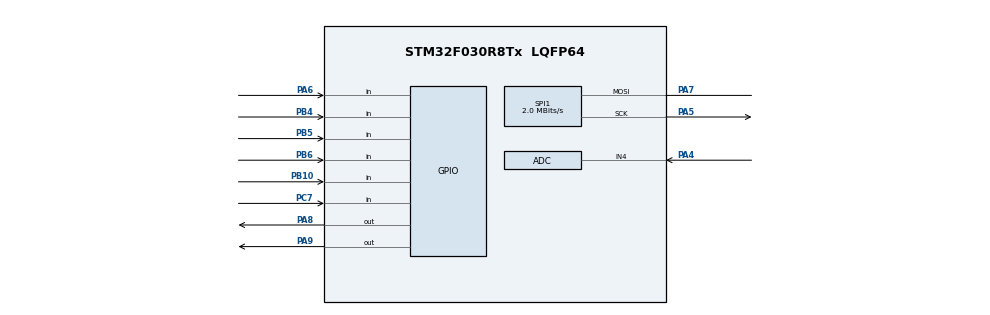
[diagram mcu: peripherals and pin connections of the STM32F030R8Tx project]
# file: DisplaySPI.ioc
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Mcu.Family=STM32F0
Mcu.Name=STM32F030R8Tx
Mcu.Package=LQFP64
PA4.Signal=SharedAnalog_PA4
PA5.Mode=Simplex_Bidirectional_Master
PA5.Signal=SPI1_SCK
PA6.GPIO_PuPd=GPIO_PULLUP
PA6.Signal=GPIO_Input
PA7.Mode=Simplex_Bidirectional_Master
PA7.Signal=SPI1_MOSI
PA8.Signal=GPIO_Output
PA9.PinState=GPIO_PIN_SET
PA9.Signal=GPIO_Output
PB10.GPIO_PuPd=GPIO_PULLUP
PB10.Signal=GPIO_Input
PB4.GPIO_PuPd=GPIO_PULLUP
PB4.Signal=GPIO_Input
PB5.GPIO_PuPd=GPIO_PULLUP
PB5.Signal=GPIO_Input
PB6.GPIO_PuPd=GPIO_PULLUP
PB6.Signal=GPIO_Input
PC7.GPIO_PuPd=GPIO_PULLUP
PC7.Signal=GPIO_Input
PF0-OSC_IN.Mode=HSE-External-Oscillator
PF0-OSC_IN.Signal=RCC_OSC_IN
PF1-OSC_OUT.Mode=HSE-External-Oscillator
PF1-OSC_OUT.Signal=RCC_OSC_OUT
ProjectManager.HeapSize=0x200
ProjectManager.StackSize=0x400
ProjectManager.TargetToolchain=STM32CubeIDE
SH.SharedAnalog_PA4.0=GPIO_Analog
SH.SharedAnalog_PA4.1=ADC_IN4,IN4
SPI1.BaudRatePrescaler=SPI_BAUDRATEPRESCALER_4
SPI1.CalculateBaudRate=2.0 MBits/s
SPI1.DataSize=SPI_DATASIZE_8BIT
SPI1.Direction=SPI_DIRECTION_1LINE
SPI1.Mode=SPI_MODE_MASTER
SPI1.NSSPMode=SPI_NSS_PULSE_DISABLE
SPI1.VirtualType=VM_MASTER
TIM3.Prescaler=7999
VP_TIM3_VS_ClockSourceINT.Mode=Internal
board=custom

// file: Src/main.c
/* USER CODE BEGIN Header */
/**
  ******************************************************************************
  * @file           : main.c
  * @brief          : Main program body
  ******************************************************************************
  * @attention
  *
  * Copyright (c) 2023 STMicroelectronics.
  * All rights reserved.
  *
  * This software is licensed under terms that can be found in the LICENSE file
  * in the root directory of this software component.
  * If no LICENSE file comes with this software, it is provided AS-IS.
  *
  ******************************************************************************
  */
/* USER CODE END Header */
#include "main.h"

/* USER CODE BEGIN Includes */
#include <stdbool.h>
#include "global.h"
#include "button.h"
#include "grondMap.h"
#include "bullet.h"
#include "player.h"
#include "letterBox.h"
#include "mainmenu.h"
#include "highscore.h"
/* USER CODE END Includes */

ADC_HandleTypeDef hadc;

SPI_HandleTypeDef hspi1;

TIM_HandleTypeDef htim3;

/* USER CODE BEGIN PV */
/*
 * De resolutie bedraagt 640 : 480. De FPGA 800:600 tekenen maar 640:480 zichtbaar. Beginnend linksboven. Lege ruimte is 144breed en 31 hoog.
 * Voor precieze locaties moet deze waardes opgeteld worden. Voor game logica is 0,0 locatie linksonder. Dus voor y-as een inversie
 * Voor x-as: x-positie + vga buffer breedte.
 * Voor y-as: schermhoogte - y-positie + vga buffer hoogte
 */

//1left 2right 3down 4up

/* USER CODE END PV */

void SystemClock_Config(void);
static void MX_GPIO_Init(void);
static void MX_SPI1_Init(void);
static void MX_TIM3_Init(void);
static void MX_ADC_Init(void);
/* USER CODE BEGIN PFP */
//static int8_t buttonDPAD[] = {0,0,0,0};

void sendData(uint8_t, uint16_t);
void mapDataStart();

/* USER CODE END PFP */

int main(void)
{

  /* MCU Configuration--------------------------------------------------------*/

  /* Reset of all peripherals, Initializes the Flash interface and the Systick. */
  HAL_Init();

  /* Configure the system clock */
  SystemClock_Config();

  /* Initialize all configured peripherals */
  MX_GPIO_Init();
  MX_SPI1_Init();
  MX_TIM3_Init();
  MX_ADC_Init();
  /* USER CODE BEGIN 2 */
  // correct byte for led control
  uint16_t pos_x; //0b0000 0001 0011 0110
  uint16_t pos_y;

	static int state = INIT_MAIN;
	uint8_t game_over = 0;

  /* USER CODE END 2 */

  /* Infinite loop */
  /* USER CODE BEGIN WHILE */
	HAL_GPIO_WritePin(GPIOA, GPIO_PIN_8, GPIO_PIN_SET);

	HAL_GPIO_WritePin(GPIOA, GPIO_PIN_8, GPIO_PIN_RESET);

	void buttonInit();
	int hit;
	uint16_t turn = 0;
	int16_t score = 0;

	while (1)
	{
	  	if(state != HOOFDMENU && state != INIT_MAIN){
	  		buttonRead();
	  	}
		if(state == GAME_TEST){

		}

		if(state == INIT_MAIN){
			sendData(SWITCH_SCREEN,MAINSCREEN);
			sendData(SWITCH_SCREEN,NO_DATA);

			for(int j = 0; j < 6; j++){
				buttonDPAD[j] = 0;
				previousButton[j] = 0;
			}
			buttonRead();
			mainMenu();
			playerOff();
			mapDataOff();
			HAL_Delay(3000);

			state = HOOFDMENU;
		}else if(state == HOOFDMENU){
			buttonRead();
			if( buttonDPAD[BUTTON_SELECT] != 0 && previousButton[BUTTON_SELECT] != buttonDPAD[BUTTON_SELECT] )
			{
				state = HIGHSCORES;
				highscoreMenu();
			}
			if( buttonDPAD[BUTTON_CONFIRM] != 0 && previousButton[BUTTON_CONFIRM] != buttonDPAD[BUTTON_CONFIRM] )
			{
				state = GAME_INIT;
			}
		} else if(state == HIGHSCORES){

			if( buttonDPAD[BUTTON_SELECT] != 0 && previousButton[BUTTON_SELECT] != buttonDPAD[BUTTON_SELECT] )
			{
				state = HOOFDMENU;
				mainMenu();
			}
		} else if(state == GAME_INIT){
			genereateRandomMap();
			sendData(SWITCH_SCREEN,GAMESCREEN);
			playerInit();
			mapDataStart();
			bulletInit();
			writeBox(CONT_REGEL2,emptyChar);
			writeBox(CONT_REGEL3,emptyChar);
			writeBox(CONT_REGEL4,emptyChar);
			writeBox(CONT_REGEL5,emptyChar);
			writeBox(CONT_REGEL6,emptyChar);
			sendData(SWITCH_SCREEN,NO_DATA);
			turn = -1;
			state = GAME_PLAYER_SWITCH;
			for(int j = 0; j < 6; j++){
				buttonDPAD[j] = 0;
				previousButton[j] = 0;
			}

			sendData(BARREL1,player[0].rotation);

			sendData(BARREL2,player[1].rotation);
			HAL_Delay(1000);

		} else	if(state == GAME_MOVE){
			game_over = playerMovement(currentPlayer);
			if(buttonDPAD[BUTTON_SELECT] != 0 && previousButton[BUTTON_SELECT] != buttonDPAD[BUTTON_SELECT] )
			{
				//game_over = 1;
			}
			if(game_over != 0){
				state = GAME_END_INIT;

			}
			if(buttonDPAD[BUTTON_CONFIRM] != 0 && previousButton[BUTTON_CONFIRM] != buttonDPAD[BUTTON_CONFIRM] )
			{
				writeBox(CONT_REGEL2,emptyChar);
				state = GAME_BULLET_INIT;
			}
		} else if(state == GAME_BULLET_INIT){
			bulletInit();
			updateWriteShot(player[currentPlayer].power,player[currentPlayer].angle);
			state = GAME_BULLET_CALC;
		} else if(state == GAME_BULLET_CALC){
			hit = bulletLoop(currentPlayer);
			if(hit == 1){
				state = GAME_PLAYER_SWITCH;
			}
			else if(hit == 2){ //player 1 death
				game_over = 1;
			} else if(hit == 3){ //player 2 deatch
				game_over = 2;
			}
			if(game_over != 0){
				state = GAME_END_INIT;
			}
		} else if(state == GAME_PLAYER_SWITCH){

			for(uint8_t i = 0; i < 2; i++)
			{
				game_over = playerMovement(i);

				pos_x = player[i].posX + VGABUFFERBREEDTE * MAPSIZE;
				if(i == 0){
					sendData(PLAYER1_X,pos_x/MAPSIZE - player[i].radius);
				} else {
					sendData(PLAYER2_X,pos_x/MAPSIZE - player[i].radius);
				}
				pos_x = player[i].posX;

				pos_y = player[i].posY + VGABUFFERBREEDTE * MAPSIZE;
				if(i == 0){
					sendData(PLAYER1_Y,pos_y/MAPSIZE - player[i].radius);
				} else {
					sendData(PLAYER2_Y,pos_y/MAPSIZE - player[i].radius);
				}
				pos_y = player[i].posY;

			}

			if(player[0].inAir == false && player[1].inAir == false ){
				turn++;
				state = GAME_MOVE;
				writeBox(CONT_REGEL3,"player switch   ");
				HAL_Delay(1500);
				writeBox(CONT_REGEL3,emptyChar);
				writeBox(CONT_REGEL2,emptyChar);

				if(currentPlayer == 0){
					currentPlayer = 1;
				} else {
					currentPlayer = 0;
				}
				updatePlayer(currentPlayer);
				writeBox(CONT_POWER,emptyChar);
				writeBox(CONT_ANGLE,emptyChar);

			}
			if(game_over != 0){
				state = GAME_END_INIT;

			}
		} else if(state == GAME_END_INIT){
			turn = turn / 2;
			sendData(PLAYSOUND,SOUND_WIN);

			if(game_over == 2){
				writeBox(CONT_REGEL2,"player 1 wins  ");
				score = player[0].score;
			} else if(game_over == 1){
				writeBox(CONT_REGEL2,"player 2 wins  ");
				score = player[1].score;
			}
			score = addTurnScore(turn,score);

			char scoreChar[16] = "score 000";
			scoreChar[6] = (score/100) + '0';
			scoreChar[7] = ((score/10)%10) + '0';
			scoreChar[8] = (score%10) + '0';

			writeBox(CONT_REGEL5,scoreChar);

			//game_over = 0;
			if(score >= 0){
				compareScores(score);
			}

			state = GAME_FINISHED;
		} else if(state == GAME_FINISHED){

			if(buttonDPAD[BUTTON_SELECT] != 0 && previousButton[BUTTON_SELECT] != buttonDPAD[BUTTON_SELECT] )
			{
				sendData(PLAYSOUND,NO_DATA);
				game_over = 0;
				turn = 0;
				score = 0;
				state = INIT_MAIN;
			}

		}

		// send data via SPI //adjust map size
		if(pos_x != player[currentPlayer].posX ){
			pos_x = player[currentPlayer].posX + VGABUFFERBREEDTE * MAPSIZE;
			if(currentPlayer == 0){
				sendData(PLAYER1_X,pos_x/MAPSIZE - player[currentPlayer].radius);
			} else {
				sendData(PLAYER2_X,pos_x/MAPSIZE - player[currentPlayer].radius);
			}
			pos_x = player[currentPlayer].posX;
		}
		if(player[currentPlayer].velY != 0 ){
			pos_y = player[currentPlayer].posY + VGABUFFERHOOGTE * MAPSIZE;
			if(currentPlayer == 0){
				sendData(PLAYER1_Y,pos_y/MAPSIZE - player[currentPlayer].radius);
			} else {
				sendData(PLAYER2_Y,pos_y/MAPSIZE - player[currentPlayer].radius);
			}
			pos_y = player[currentPlayer].posY;
		}

    /* USER CODE END WHILE */

  }
}

void SystemClock_Config(void)
{
  RCC_OscInitTypeDef RCC_OscInitStruct = {0};
  RCC_ClkInitTypeDef RCC_ClkInitStruct = {0};

  /** Initializes the RCC Oscillators according to the specified parameters
  * in the RCC_OscInitTypeDef structure.
  */
  RCC_OscInitStruct.OscillatorType = RCC_OSCILLATORTYPE_HSI|RCC_OSCILLATORTYPE_HSI14;
  RCC_OscInitStruct.HSIState = RCC_HSI_ON;
  RCC_OscInitStruct.HSI14State = RCC_HSI14_ON;
  RCC_OscInitStruct.HSICalibrationValue = RCC_HSICALIBRATION_DEFAULT;
  RCC_OscInitStruct.HSI14CalibrationValue = 16;
  RCC_OscInitStruct.PLL.PLLState = RCC_PLL_NONE;
  if (HAL_RCC_OscConfig(&RCC_OscInitStruct) != HAL_OK)
  {
    Error_Handler();
  }

  /** Initializes the CPU, AHB and APB buses clocks
  */
  RCC_ClkInitStruct.ClockType = RCC_CLOCKTYPE_HCLK|RCC_CLOCKTYPE_SYSCLK
                              |RCC_CLOCKTYPE_PCLK1;
  RCC_ClkInitStruct.SYSCLKSource = RCC_SYSCLKSOURCE_HSI;
  RCC_ClkInitStruct.AHBCLKDivider = RCC_SYSCLK_DIV1;
  RCC_ClkInitStruct.APB1CLKDivider = RCC_HCLK_DIV1;

  if (HAL_RCC_ClockConfig(&RCC_ClkInitStruct, FLASH_LATENCY_0) != HAL_OK)
  {
    Error_Handler();
  }
}

static void MX_ADC_Init(void)
{

  ADC_ChannelConfTypeDef sConfig = {0};

  /** Configure the global features of the ADC (Clock, Resolution, Data Alignment and number of conversion)
  */
  hadc.Instance = ADC1;
  hadc.Init.ClockPrescaler = ADC_CLOCK_ASYNC_DIV1;
  hadc.Init.Resolution = ADC_RESOLUTION_12B;
  hadc.Init.DataAlign = ADC_DATAALIGN_RIGHT;
  hadc.Init.ScanConvMode = ADC_SCAN_DIRECTION_FORWARD;
  hadc.Init.EOCSelection = ADC_EOC_SINGLE_CONV;
  hadc.Init.LowPowerAutoWait = DISABLE;
  hadc.Init.LowPowerAutoPowerOff = DISABLE;
  hadc.Init.ContinuousConvMode = DISABLE;
  hadc.Init.DiscontinuousConvMode = DISABLE;
  hadc.Init.ExternalTrigConv = ADC_SOFTWARE_START;
  hadc.Init.ExternalTrigConvEdge = ADC_EXTERNALTRIGCONVEDGE_NONE;
  hadc.Init.DMAContinuousRequests = DISABLE;
  hadc.Init.Overrun = ADC_OVR_DATA_PRESERVED;
  if (HAL_ADC_Init(&hadc) != HAL_OK)
  {
    Error_Handler();
  }

  /** Configure for the selected ADC regular channel to be converted.
  */
  sConfig.Channel = ADC_CHANNEL_4;
  sConfig.Rank = ADC_RANK_CHANNEL_NUMBER;
  sConfig.SamplingTime = ADC_SAMPLETIME_1CYCLE_5;
  if (HAL_ADC_ConfigChannel(&hadc, &sConfig) != HAL_OK)
  {
    Error_Handler();
  }

}

static void MX_SPI1_Init(void)
{

  /* SPI1 parameter configuration*/
  hspi1.Instance = SPI1;
  hspi1.Init.Mode = SPI_MODE_MASTER;
  hspi1.Init.Direction = SPI_DIRECTION_1LINE;
  hspi1.Init.DataSize = SPI_DATASIZE_8BIT;
  hspi1.Init.CLKPolarity = SPI_POLARITY_LOW;
  hspi1.Init.CLKPhase = SPI_PHASE_1EDGE;
  hspi1.Init.NSS = SPI_NSS_SOFT;
  hspi1.Init.BaudRatePrescaler = SPI_BAUDRATEPRESCALER_4;
  hspi1.Init.FirstBit = SPI_FIRSTBIT_MSB;
  hspi1.Init.TIMode = SPI_TIMODE_DISABLE;
  hspi1.Init.CRCCalculation = SPI_CRCCALCULATION_DISABLE;
  hspi1.Init.CRCPolynomial = 7;
  hspi1.Init.CRCLength = SPI_CRC_LENGTH_DATASIZE;
  hspi1.Init.NSSPMode = SPI_NSS_PULSE_DISABLE;
  if (HAL_SPI_Init(&hspi1) != HAL_OK)
  {
    Error_Handler();
  }

}

static void MX_TIM3_Init(void)
{

  TIM_ClockConfigTypeDef sClockSourceConfig = {0};
  TIM_MasterConfigTypeDef sMasterConfig = {0};

  htim3.Instance = TIM3;
  htim3.Init.Prescaler = 7999;
  htim3.Init.CounterMode = TIM_COUNTERMODE_UP;
  htim3.Init.Period = 65535;
  htim3.Init.ClockDivision = TIM_CLOCKDIVISION_DIV1;
  htim3.Init.AutoReloadPreload = TIM_AUTORELOAD_PRELOAD_DISABLE;
  if (HAL_TIM_Base_Init(&htim3) != HAL_OK)
  {
    Error_Handler();
  }
  sClockSourceConfig.ClockSource = TIM_CLOCKSOURCE_INTERNAL;
  if (HAL_TIM_ConfigClockSource(&htim3, &sClockSourceConfig) != HAL_OK)
  {
    Error_Handler();
  }
  sMasterConfig.MasterOutputTrigger = TIM_TRGO_RESET;
  sMasterConfig.MasterSlaveMode = TIM_MASTERSLAVEMODE_DISABLE;
  if (HAL_TIMEx_MasterConfigSynchronization(&htim3, &sMasterConfig) != HAL_OK)
  {
    Error_Handler();
  }

}

static void MX_GPIO_Init(void)
{
  GPIO_InitTypeDef GPIO_InitStruct = {0};

  /* GPIO Ports Clock Enable */
  __HAL_RCC_GPIOF_CLK_ENABLE();
  __HAL_RCC_GPIOA_CLK_ENABLE();
  __HAL_RCC_GPIOB_CLK_ENABLE();
  __HAL_RCC_GPIOC_CLK_ENABLE();

  /*Configure GPIO pin Output Level */
  HAL_GPIO_WritePin(GPIOA, GPIO_PIN_8, GPIO_PIN_RESET);

  /*Configure GPIO pin Output Level */
  HAL_GPIO_WritePin(GPIOA, GPIO_PIN_9, GPIO_PIN_SET);

  /*Configure GPIO pin : PA6 */
  GPIO_InitStruct.Pin = GPIO_PIN_6;
  GPIO_InitStruct.Mode = GPIO_MODE_INPUT;
  GPIO_InitStruct.Pull = GPIO_PULLUP;
  HAL_GPIO_Init(GPIOA, &GPIO_InitStruct);

  /*Configure GPIO pins : PB10 PB4 PB5 PB6 */
  GPIO_InitStruct.Pin = GPIO_PIN_10|GPIO_PIN_4|GPIO_PIN_5|GPIO_PIN_6;
  GPIO_InitStruct.Mode = GPIO_MODE_INPUT;
  GPIO_InitStruct.Pull = GPIO_PULLUP;
  HAL_GPIO_Init(GPIOB, &GPIO_InitStruct);

  /*Configure GPIO pin : PC7 */
  GPIO_InitStruct.Pin = GPIO_PIN_7;
  GPIO_InitStruct.Mode = GPIO_MODE_INPUT;
  GPIO_InitStruct.Pull = GPIO_PULLUP;
  HAL_GPIO_Init(GPIOC, &GPIO_InitStruct);

  /*Configure GPIO pins : PA8 PA9 */
  GPIO_InitStruct.Pin = GPIO_PIN_8|GPIO_PIN_9;
  GPIO_InitStruct.Mode = GPIO_MODE_OUTPUT_PP;
  GPIO_InitStruct.Pull = GPIO_NOPULL;
  GPIO_InitStruct.Speed = GPIO_SPEED_FREQ_LOW;
  HAL_GPIO_Init(GPIOA, &GPIO_InitStruct);

}

void Error_Handler(void)
{
  __disable_irq();
  while (1)
  {
  }
}
